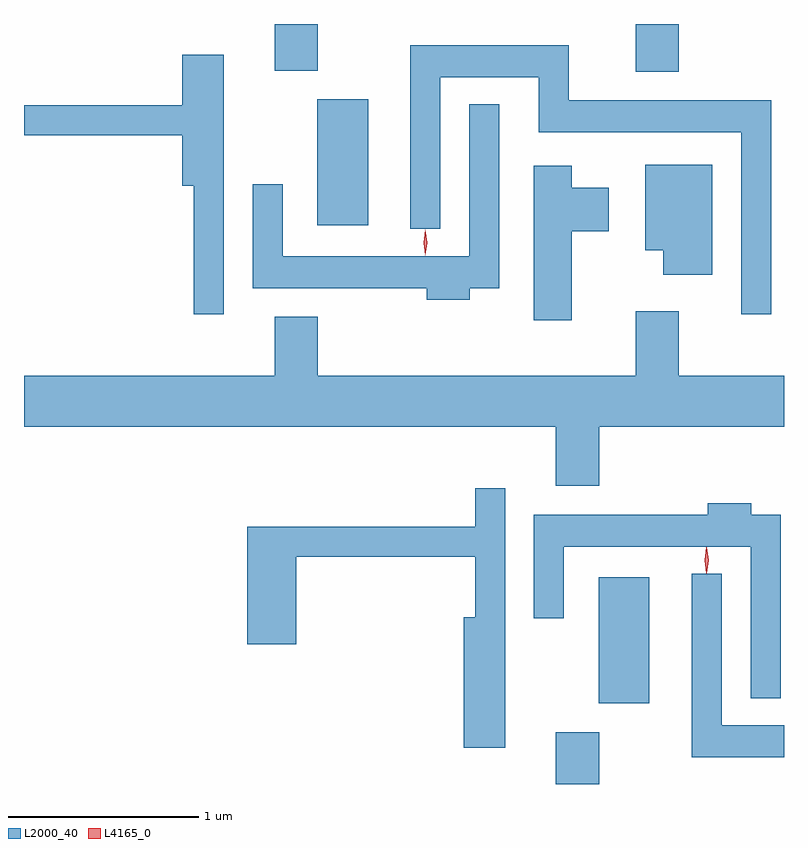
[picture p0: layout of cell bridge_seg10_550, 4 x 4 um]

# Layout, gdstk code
import gdstk
lib = gdstk.Library(unit=1e-6, precision=1e-09)
def R(c, l, rs):  # rectangles x0, y0, x1, y1
    for r in rs: c.add(gdstk.rectangle(r[:2], r[2:], *l))
def P(c, l, *ps):  # polygons
    for p in ps: c.add(gdstk.Polygon(p, *l))
L2000_40 = (2000, 40)
L4165_0 = (4165, 0)

bridge_seg10_550 = lib.new_cell('bridge_seg10_550')
R(bridge_seg10_550, L2000_40, [(768.191,2189.736,768.419,2190.009), (768.416,2190.161,768.684,2190.824), (766.936,2192.676,767.204,2193.339), (768.611,2193.486,768.839,2193.736), (766.711,2193.491,766.939,2193.736)])
P(bridge_seg10_550, L2000_40, [(769.324,2193.334),(768.259,2193.334),(768.259,2193.624),(767.426,2193.624),(767.426,2192.658),(767.584,2192.658),(767.584,2193.456),(768.101,2193.456),(768.101,2193.166),(769.166,2193.166),(769.166,2192.208),(769.324,2192.208)],
  [(766.444,2193.574),(766.226,2193.574),(766.226,2193.309),(765.392,2193.309),(765.392,2193.151),(766.226,2193.151),(766.226,2192.886),(766.286,2192.886),(766.286,2192.208),(766.444,2192.208)],
  [(767.739,2192.346),(767.894,2192.346),(767.894,2193.313),(767.736,2193.313),(767.736,2192.514),(766.754,2192.514),(766.754,2192.893),(766.596,2192.893),(766.596,2192.346),(767.511,2192.346),(767.511,2192.286),(767.739,2192.286)],
  [(769.014,2192.994),(768.661,2192.994),(768.661,2192.546),(768.756,2192.546),(768.756,2192.416),(769.014,2192.416)],
  [(768.274,2192.646),(768.469,2192.646),(768.469,2192.874),(768.274,2192.874),(768.274,2192.989),(768.076,2192.989),(768.076,2192.176),(768.274,2192.176)],
  [(768.419,2191.616),(769.392,2191.616),(769.392,2191.884),(768.839,2191.884),(768.839,2192.224),(768.611,2192.224),(768.611,2191.884),(766.939,2191.884),(766.939,2192.194),(766.711,2192.194),(766.711,2191.884),(765.392,2191.884),(765.392,2191.616),(768.191,2191.616),(768.191,2191.306),(768.419,2191.306)],
  [(767.924,2191.293),(767.766,2191.293),(767.766,2191.089),(766.566,2191.089),(766.566,2190.471),(766.824,2190.471),(766.824,2190.931),(767.766,2190.931),(767.766,2190.614),(767.706,2190.614),(767.706,2189.926),(767.924,2189.926)],
  [(769.374,2191.154),(769.219,2191.154),(769.219,2191.214),(768.991,2191.214),(768.991,2191.154),(768.076,2191.154),(768.076,2190.608),(768.234,2190.608),(768.234,2190.986),(769.216,2190.986),(769.216,2190.188),(769.374,2190.188)],
  [(769.392,2190.044),(769.064,2190.044),(769.064,2190.843),(768.906,2190.843),(768.906,2189.876),(769.392,2189.876)])
P(bridge_seg10_550, L4165_0, [(768.985,2190.843),(768.984,2190.844),(768.975,2190.913),(768.984,2190.982),(768.985,2190.983),(768.985,2190.982),(768.995,2190.913),(768.985,2190.844)],
  [(767.505,2192.519),(767.504,2192.52),(767.495,2192.586),(767.504,2192.652),(767.505,2192.653),(767.505,2192.652),(767.515,2192.586),(767.505,2192.52)])

lib.write_gds('bridge_seg10_550.gds')
